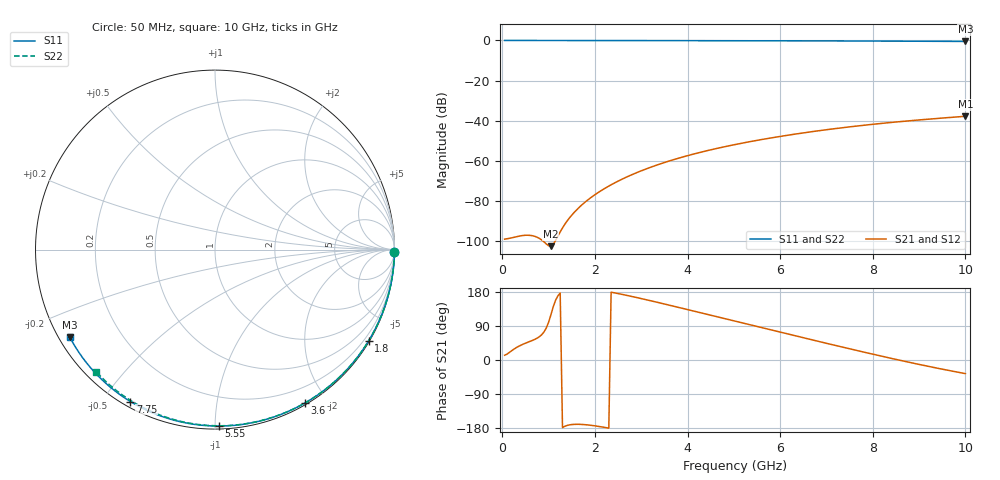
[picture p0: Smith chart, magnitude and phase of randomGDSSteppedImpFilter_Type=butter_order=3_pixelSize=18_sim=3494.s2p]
! freq	dB(S11)	phase(S11)	dB(S12)	phase(S12)
!  dB(S21)	phase(S21)	dB(S22)	phase(S22)
!S-par simulation data
#  GHz  S  DB  R 50
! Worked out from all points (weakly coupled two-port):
!   200 points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, 50 MHz to 10 GHz, reference 50 ohm
!   highest |S21| = -37.87 dB at 10 GHz (marker M1); lowest = -102.7 dB at 1.05 GHz (marker M2)
!   lowest |S11| = -0.5 dB at 10 GHz (marker M3), VSWR 35.24, Z = 1.53 - j14 ohm
!   |S11| at or under -10 dB: nowhere
!   |S22| runs from -0.5 to 0.0 dB; largest |S21 - S12| = 0
!   S11 on the Smith chart (normalised r, x): 50 MHz: open; 1.8 GHz: 0.03, -3.65; 3.6 GHz: 0.02, -1.74; 5.55 GHz: 0.02, -1.02; 7.75 GHz: 0.02, -0.59; 10 GHz: 0.03, -0.28
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0.05  -0.00 -0.9  -99.23 12.6  -99.23 12.6  -0.00 -0.8
0.55  -0.01 -9.5  -97.27 46.8  -97.27 46.8  -0.01 -8.5
1.05  -0.02 -18.0  -102.73 119.4  -102.73 119.4  -0.02 -16.1
1.75  -0.04 -29.8  -81.47 -170.3  -81.47 -170.3  -0.03 -26.6
1.8  -0.04 -30.6  -80.49 -170.8  -80.49 -170.8  -0.03 -27.4
1.85  -0.04 -31.4  -79.57 -171.4  -79.57 -171.4  -0.04 -28.1
2.05  -0.04 -34.8  -76.24 -174.6  -76.24 -174.6  -0.04 -31.1
2.2  -0.05 -37.2  -74.06 -177.6  -74.06 -177.6  -0.04 -33.3
2.55  -0.05 -42.9  -69.68 174.1  -69.68 174.1  -0.05 -38.4
2.95  -0.06 -49.4  -65.57 163.5  -65.57 163.5  -0.06 -44.2
3.4  -0.07 -56.5  -61.73 150.8  -61.73 150.8  -0.07 -50.7
3.6  -0.08 -59.7  -60.23 144.9  -60.23 144.9  -0.07 -53.5
4.3  -0.10 -70.4  -55.73 124.1  -55.73 124.1  -0.09 -63.2
5.05  -0.12 -81.6  -51.87 101.6  -51.87 101.6  -0.11 -73.3
5.55  -0.14 -88.8  -49.69 86.7  -49.69 86.7  -0.13 -79.9
6.1  -0.17 -96.6  -47.56 70.4  -47.56 70.4  -0.15 -87.0
6.7  -0.20 -104.9  -45.51 52.8  -45.51 52.8  -0.18 -94.5
7.2  -0.23 -111.7  -43.99 38.2  -43.99 38.2  -0.21 -100.7
7.75  -0.27 -119.1  -42.49 22.4  -42.49 22.4  -0.25 -107.4
8.35  -0.32 -127.0  -41.05 5.7  -41.05 5.7  -0.29 -114.6
9.2  -0.41 -138.2  -39.31 -16.8  -39.31 -16.8  -0.37 -124.7
10  -0.49 -148.8  -37.87 -35.9  -37.87 -35.9  -0.46 -134.1
